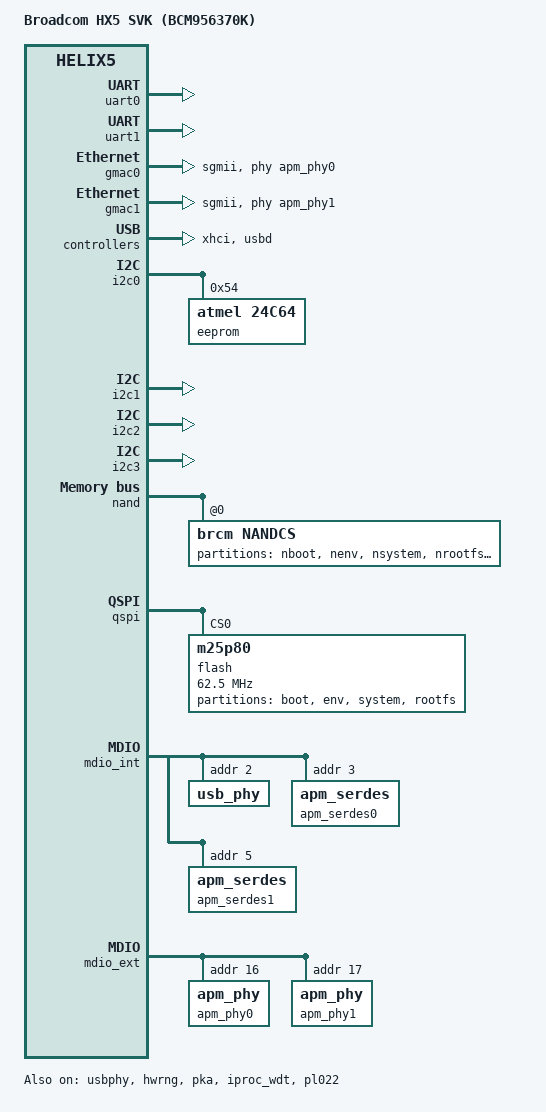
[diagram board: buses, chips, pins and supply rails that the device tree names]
/*
 *  BSD LICENSE
 *
 *  Copyright(c) 2016 Broadcom Corporation.  All rights reserved.
 *
 *  Redistribution and use in source and binary forms, with or without
 *  modification, are permitted provided that the following conditions
 *  are met:
 *
 *    * Redistributions of source code must retain the above copyright
 *      notice, this list of conditions and the following disclaimer.
 *    * Redistributions in binary form must reproduce the above copyright
 *      notice, this list of conditions and the following disclaimer in
 *      the documentation and/or other materials provided with the
 *      distribution.
 *    * Neither the name of Broadcom Corporation nor the names of its
 *      contributors may be used to endorse or promote products derived
 *      from this software without specific prior written permission.
 *
 *  THIS SOFTWARE IS PROVIDED BY THE COPYRIGHT HOLDERS AND CONTRIBUTORS
 *  "AS IS" AND ANY EXPRESS OR IMPLIED WARRANTIES, INCLUDING, BUT NOT
 *  LIMITED TO, THE IMPLIED WARRANTIES OF MERCHANTABILITY AND FITNESS FOR
 *  A PARTICULAR PURPOSE ARE DISCLAIMED. IN NO EVENT SHALL THE COPYRIGHT
 *  OWNER OR CONTRIBUTORS BE LIABLE FOR ANY DIRECT, INDIRECT, INCIDENTAL,
 *  SPECIAL, EXEMPLARY, OR CONSEQUENTIAL DAMAGES (INCLUDING, BUT NOT
 *  LIMITED TO, PROCUREMENT OF SUBSTITUTE GOODS OR SERVICES; LOSS OF USE,
 *  DATA, OR PROFITS; OR BUSINESS INTERRUPTION) HOWEVER CAUSED AND ON ANY
 *  THEORY OF LIABILITY, WHETHER IN CONTRACT, STRICT LIABILITY, OR TORT
 *  (INCLUDING NEGLIGENCE OR OTHERWISE) ARISING IN ANY WAY OUT OF THE USE
 *  OF THIS SOFTWARE, EVEN IF ADVISED OF THE POSSIBILITY OF SUCH DAMAGE.
 */

/dts-v1/;

#include "bcm-helix5.dtsi"

/ {
	model = "Broadcom HX5 SVK (BCM956370K)";
	compatible = "brcm,bcm956370k", "brcm,helix5";

	aliases {
		serial0 = &uart0;
		serial1 = &uart1;
		ethernet0 = &gmac0;
		ethernet1 = &gmac1;
	};

	chosen {
		bootargs = "console=ttyS0,115200n8 maxcpus=1 mem=496M";
	};
};

&uart0 {
	status = "okay";
};

&uart1 {
	status = "okay";
};

&gmac0 {
	status = "okay";
	phy-handle = <&apm_phy0>;
	phy-mode = "sgmii";
};

&gmac1 {
	status = "okay";
	phy-handle = <&apm_phy1>;
	phy-mode = "sgmii";
};

&usbphy {
	status = "okay";
	mdio-phy-handle = <&usb_phy>;
};

&xhci {
	status = "okay";
};

&usbd {
	status = "okay";
};

&gpio_ccg {
	status = "okay";
};

/*
&pcie0 {
	status = "okay";
};
*/

&i2c0 {
	status = "okay";
	eeprom@0x54 {
		compatible = "atmel,24c64";
		reg = <0x54>;
		pagesize = <32>;
	};
};

&i2c1 {
	status = "okay";
};

&i2c2 {
	status = "okay";
};

&i2c3 {
	status = "okay";
};

&nand {
	status = "okay";
	nandcs@1 {
		compatible = "brcm,nandcs";
		reg = <0>;
		nand-on-flash-bbt;
		//nand-bus-width = <8>;
		nand-ecc-strength = <24>;
		nand-ecc-step-size = <1024>;
		brcm,nand-oob-sector-size = <27>;
		#address-cells = <1>;
		#size-cells = <1>;

		partition@0 {
			label = "nboot";
			reg = <0x00000000 0x00200000>;
		};
		partition@1 {
			label = "nenv";
			reg = <0x00200000 0x00400000>;
		};
		partition@2 {
			label = "nsystem";
			reg = <0x00600000 0x00a00000>;
		};
		partition@3 {
			label = "nrootfs";
			reg = <0x01000000 0x00f000000>;
		};
		partition@4 {
			label = "ncustfs";
			reg = <0x10000000 0x070000000>;
		};
	};
};

&qspi {
	status = "okay";
	flash: m25p80@0 {
		#address-cells = <1>;
		#size-cells = <1>;
		compatible = "m25p80";
		m25p,fast-read = <1>;
		spi-max-frequency = <62500000>;
		reg = <0x0>;
		partition@0 {
			label = "boot";
			reg = <0x00000000 0x000c0000>;
			//read-only;
		};
		partition@1 {
			label = "env";
			reg = <0x000c0000 0x00040000>;
		};
		partition@2 {
			label = "system";
			reg = <0x00100000 0x00f00000>;
		};
		partition@3 {
			label = "rootfs";
			reg = <0x01000000 0x03000000>;
		};
	};
};

&mdio_int {
	status = "okay";
	usb_phy: usb_phy@0 {
		reg = <2>;
	};
	apm_serdes0: apm_serdes@0 {
		reg = <3>;
	};
	apm_serdes1: apm_serdes@1 {
		reg = <5>;
	};
};

&mdio_ext {
	status = "okay";
	apm_phy0: apm_phy@0 {
		reg = <16>;
	};
	apm_phy1: apm_phy@1 {
		reg = <17>;
	};
};

&hwrng {
	status = "okay";
};

&pka {
	status = "okay";
};

&iproc_wdt {
	status = "okay";
};

&dmac0 {
	status = "okay";
};

&pl022 {
	status = "okay";
};
